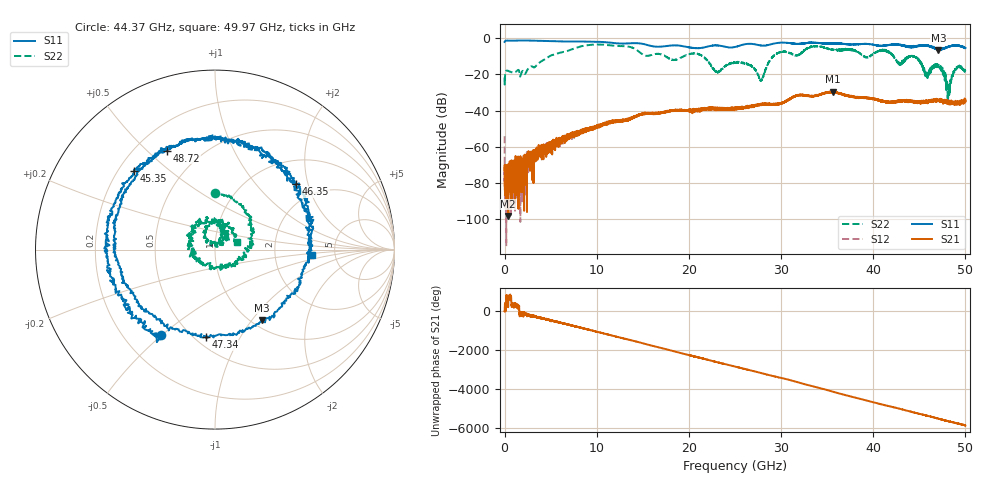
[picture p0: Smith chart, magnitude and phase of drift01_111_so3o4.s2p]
!Created with skrf (http://scikit-rf.org).
# Hz S RI R 50.0
!freq ReS11 ImS11 ReS21 ImS21 ReS12 ImS12 ReS22 ImS22
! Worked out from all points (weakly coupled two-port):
!   10001 points, 300 kHz to 50 GHz, reference 50 ohm
!   highest |S21| = -29.59 dB at 35.59 GHz (marker M1); lowest = -98.1 dB at 400.3 MHz (marker M2)
!   lowest |S11| = -6.5 dB at 47.08 GHz (marker M3), VSWR 2.78, Z = 55.5 - j56 ohm
!   |S11| at or under -10 dB: nowhere
!   |S22| runs from -34.7 to -3.6 dB; largest |S21 - S12| = 0.0037
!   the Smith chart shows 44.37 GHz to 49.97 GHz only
!   S11 on the Smith chart (normalised r, x): 44.37 GHz: 0.35, -0.50; 45.35 GHz: 0.26, +0.38; 46.35 GHz: 1.52, +1.69; 47.34 GHz: 0.56, -0.73; 48.72 GHz: 0.33, +0.58; 49.97 GHz: 3.33, -0.27
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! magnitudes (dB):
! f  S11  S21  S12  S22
! 300 kHz  -2.1  -73.1  -54.1  -21.8
! 400.3 MHz  -1.4  -98.1  -93.7  -18.2
! 8.335 GHz  -1.9  -51.4  -51.6  -4.5
! 16.67 GHz  -4.8  -40.9  -41.6  -8.7
! 20.97 GHz  -5.6  -40.3  -39.5  -8.8
! 23.09 GHz  -4.1  -38.8  -38.9  -18.6
! 25 GHz  -5.0  -38.6  -38.5  -13.8
! 27.85 GHz  -4.2  -36.7  -36.6  -23.0
! 29.46 GHz  -2.8  -36.8  -36.7  -8.8
! 33.34 GHz  -2.6  -32.1  -32.1  -4.8
! 35.59 GHz  -2.9  -29.6  -29.8  -6.5
! 41.67 GHz  -3.9  -35.3  -35.4  -7.8
! 42.84 GHz  -3.9  -35.2  -34.8  -14.1
! 44.37 GHz  -5.0  -35.0  -35.1  -10.0
! 45.35 GHz  -4.0  -35.9  -35.1  -15.3
! 46.35 GHz  -4.7  -34.2  -34.4  -16.6
! 47.08 GHz  -6.5  -34.9  -34.5  -16.5
! 47.34 GHz  -6.2  -34.5  -34.0  -15.6
! 48.12 GHz  -4.9  -35.2  -35.4  -31.8
! 48.72 GHz  -4.3  -36.2  -35.5  -18.6
! 49.97 GHz  -5.3  -34.3  -35.1  -17.9
! 50 GHz  -5.5  -34.0  -35.4  -18.3
